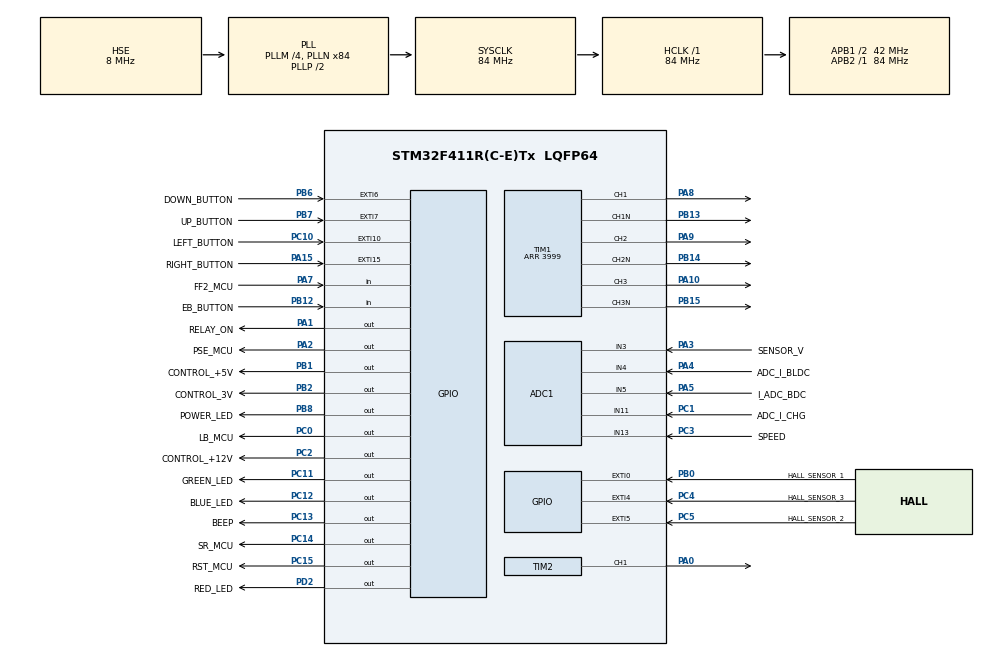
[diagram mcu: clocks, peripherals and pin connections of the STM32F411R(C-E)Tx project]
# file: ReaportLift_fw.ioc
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ADC1.Channel-1\#ChannelRegularConversion=ADC_CHANNEL_4
ADC1.Channel-10\#ChannelRegularConversion=ADC_CHANNEL_13
ADC1.Channel-7\#ChannelRegularConversion=ADC_CHANNEL_3
ADC1.Channel-8\#ChannelRegularConversion=ADC_CHANNEL_5
ADC1.Channel-9\#ChannelRegularConversion=ADC_CHANNEL_11
ADC1.ContinuousConvMode=ENABLE
ADC1.DMAContinuousRequests=ENABLE
ADC1.EOCSelection=ADC_EOC_SEQ_CONV
ADC1.ExternalTrigConv=ADC_EXTERNALTRIGCONV_T3_TRGO
ADC1.ExternalTrigConvEdge=ADC_EXTERNALTRIGCONVEDGE_RISING
ADC1.NbrOfConversion=5
ADC1.NbrOfConversionFlag=1
ADC1.Rank-1\#ChannelRegularConversion=1
ADC1.Rank-10\#ChannelRegularConversion=5
ADC1.Rank-7\#ChannelRegularConversion=2
ADC1.Rank-8\#ChannelRegularConversion=3
ADC1.Rank-9\#ChannelRegularConversion=4
ADC1.SamplingTime-1\#ChannelRegularConversion=ADC_SAMPLETIME_480CYCLES
ADC1.SamplingTime-10\#ChannelRegularConversion=ADC_SAMPLETIME_480CYCLES
ADC1.SamplingTime-7\#ChannelRegularConversion=ADC_SAMPLETIME_480CYCLES
ADC1.SamplingTime-8\#ChannelRegularConversion=ADC_SAMPLETIME_480CYCLES
ADC1.SamplingTime-9\#ChannelRegularConversion=ADC_SAMPLETIME_480CYCLES
ADC1.ScanConvMode=ENABLE
ADC1.master=1
Dma.ADC1.0.Direction=DMA_PERIPH_TO_MEMORY
Dma.ADC1.0.FIFOMode=DMA_FIFOMODE_DISABLE
Dma.ADC1.0.Instance=DMA2_Stream0
Dma.ADC1.0.MemDataAlignment=DMA_MDATAALIGN_HALFWORD
Dma.ADC1.0.MemInc=DMA_MINC_ENABLE
Dma.ADC1.0.Mode=DMA_CIRCULAR
Dma.ADC1.0.PeriphDataAlignment=DMA_PDATAALIGN_HALFWORD
Dma.ADC1.0.PeriphInc=DMA_PINC_DISABLE
Dma.ADC1.0.Priority=DMA_PRIORITY_LOW
Dma.Request0=ADC1
Mcu.Family=STM32F4
Mcu.Name=STM32F411R(C-E)Tx
Mcu.Package=LQFP64
NVIC.DMA2_Stream0_IRQn=true\:3\:0\:true\:false\:true\:false\:true
NVIC.EXTI0_IRQn=true\:3\:0\:true\:false\:true\:true\:true
NVIC.EXTI15_10_IRQn=true\:3\:0\:true\:false\:true\:true\:true
NVIC.EXTI4_IRQn=true\:3\:0\:true\:false\:true\:true\:true
NVIC.EXTI9_5_IRQn=true\:3\:0\:true\:false\:true\:true\:true
NVIC.PriorityGroup=NVIC_PRIORITYGROUP_4
NVIC.RTC_WKUP_IRQn=true\:3\:0\:true\:false\:true\:true\:true
NVIC.TIM1_BRK_TIM9_IRQn=true\:3\:0\:true\:false\:true\:true\:true
NVIC.TIM4_IRQn=true\:0\:0\:false\:false\:true\:true\:true
NVIC.TIM5_IRQn=true\:4\:0\:true\:false\:true\:true\:true
PA0-WKUP.Signal=S_TIM2_CH1_ETR
PA1.GPIO_Label=RELAY_ON
PA1.Signal=GPIO_Output
PA10.GPIO_ModeDefaultPP=GPIO_MODE_AF_PP
PA10.GPIO_PuPd=GPIO_PULLDOWN
PA10.GPIO_Speed=GPIO_SPEED_FREQ_HIGH
PA10.Signal=S_TIM1_CH3
PA13.Mode=Serial_Wire
PA13.Signal=SYS_JTMS-SWDIO
PA14.Mode=Serial_Wire
PA14.Signal=SYS_JTCK-SWCLK
PA15.GPIO_Label=RIGHT_BUTTON
PA15.GPIO_ModeDefaultEXTI=GPIO_MODE_IT_RISING_FALLING
PA15.GPIO_PuPd=GPIO_NOPULL
PA15.Signal=GPXTI15
PA2.GPIO_Label=PSE_MCU
PA2.Signal=GPIO_Output
PA3.GPIO_Label=SENSOR_V
PA3.Signal=ADCx_IN3
PA4.GPIO_Label=ADC_I_BLDC
PA4.Signal=ADCx_IN4
PA5.GPIO_Label=I_ADC_BDC
PA5.Signal=ADCx_IN5
PA7.GPIO_Label=FF2_MCU
PA7.Signal=GPIO_Input
PA8.GPIO_ModeDefaultPP=GPIO_MODE_AF_PP
PA8.GPIO_PuPd=GPIO_PULLDOWN
PA8.GPIO_Speed=GPIO_SPEED_FREQ_HIGH
PA8.Signal=S_TIM1_CH1
PA9.GPIO_ModeDefaultPP=GPIO_MODE_AF_PP
PA9.GPIO_PuPd=GPIO_PULLDOWN
PA9.GPIO_Speed=GPIO_SPEED_FREQ_HIGH
PA9.Signal=S_TIM1_CH2
PB0.GPIO_Label=HALL_SENSOR_1
PB0.GPIO_ModeDefaultEXTI=GPIO_MODE_IT_RISING_FALLING
PB0.GPIO_PuPd=GPIO_NOPULL
PB0.Signal=GPXTI0
PB1.GPIO_Label=CONTROL_+5V
PB1.Signal=GPIO_Output
PB12.GPIO_Label=EB_BUTTON
PB12.Signal=GPIO_Input
PB13.GPIO_ModeDefaultPP=GPIO_MODE_AF_PP
PB13.GPIO_PuPd=GPIO_PULLDOWN
PB13.GPIO_Speed=GPIO_SPEED_FREQ_HIGH
PB13.Mode=PWM Generation1 CH1 CH1N
PB13.Signal=TIM1_CH1N
PB14.GPIO_ModeDefaultPP=GPIO_MODE_AF_PP
PB14.GPIO_PuPd=GPIO_PULLDOWN
PB14.GPIO_Speed=GPIO_SPEED_FREQ_HIGH
PB14.Mode=PWM Generation2 CH2 CH2N
PB14.Signal=TIM1_CH2N
PB15.GPIO_ModeDefaultPP=GPIO_MODE_AF_PP
PB15.GPIO_PuPd=GPIO_PULLDOWN
PB15.GPIO_Speed=GPIO_SPEED_FREQ_HIGH
PB15.Mode=PWM Generation3 CH3 CH3N
PB15.Signal=TIM1_CH3N
PB2.GPIO_Label=CONTROL_3V
PB2.Signal=GPIO_Output
PB3.Signal=S_TIM2_CH2
PB6.GPIO_Label=DOWN_BUTTON
PB6.GPIO_ModeDefaultEXTI=GPIO_MODE_IT_RISING_FALLING
PB6.GPIO_PuPd=GPIO_NOPULL
PB6.Signal=GPXTI6
PB7.GPIO_Label=UP_BUTTON
PB7.GPIO_ModeDefaultEXTI=GPIO_MODE_IT_RISING_FALLING
PB7.GPIO_PuPd=GPIO_NOPULL
PB7.Signal=GPXTI7
PB8.GPIO_Label=POWER_LED
PB8.Signal=GPIO_Output
PC0.GPIO_Label=LB_MCU
PC0.Signal=GPIO_Output
PC1.GPIO_Label=ADC_I_CHG
PC1.Signal=ADCx_IN11
PC10.GPIO_Label=LEFT_BUTTON
PC10.GPIO_ModeDefaultEXTI=GPIO_MODE_IT_RISING_FALLING
PC10.GPIO_PuPd=GPIO_NOPULL
PC10.Signal=GPXTI10
PC11.GPIO_Label=GREEN_LED
PC11.Signal=GPIO_Output
PC12.GPIO_Label=BLUE_LED
PC12.Signal=GPIO_Output
PC13-ANTI_TAMP.GPIO_Label=BEEP
PC13-ANTI_TAMP.Signal=GPIO_Output
PC14-OSC32_IN.GPIO_Label=SR_MCU
PC14-OSC32_IN.Signal=GPIO_Output
PC15-OSC32_OUT.GPIO_Label=RST_MCU
PC15-OSC32_OUT.Signal=GPIO_Output
PC2.GPIO_Label=CONTROL_+12V
PC2.Signal=GPIO_Output
PC3.GPIO_Label=SPEED
PC3.Signal=ADCx_IN13
PC4.GPIO_Label=HALL_SENSOR_3
PC4.GPIO_ModeDefaultEXTI=GPIO_MODE_IT_RISING_FALLING
PC4.GPIO_PuPd=GPIO_NOPULL
PC4.Signal=GPXTI4
PC5.GPIO_Label=HALL_SENSOR_2
PC5.GPIO_ModeDefaultEXTI=GPIO_MODE_IT_RISING_FALLING
PC5.GPIO_PuPd=GPIO_NOPULL
PC5.Signal=GPXTI5
PD2.GPIO_Label=RED_LED
PD2.Signal=GPIO_Output
PH0\ -\ OSC_IN.Mode=HSE-External-Oscillator
PH0\ -\ OSC_IN.Signal=RCC_OSC_IN
PH1\ -\ OSC_OUT.Mode=HSE-External-Oscillator
PH1\ -\ OSC_OUT.Signal=RCC_OSC_OUT
ProjectManager.HeapSize=0x200
ProjectManager.StackSize=0x400
ProjectManager.TargetToolchain=STM32CubeIDE
RCC.48MHZClocksFreq_Value=42000000
RCC.AHBFreq_Value=84000000
RCC.APB1CLKDivider=RCC_HCLK_DIV2
RCC.APB1Freq_Value=42000000
RCC.APB1TimFreq_Value=84000000
RCC.APB2Freq_Value=84000000
RCC.APB2TimFreq_Value=84000000
RCC.CortexFreq_Value=84000000
RCC.HCLKFreq_Value=84000000
RCC.HSE_VALUE=8000000
RCC.HSI_VALUE=16000000
RCC.LSE_VALUE=32768
RCC.PLLM=4
RCC.PLLN=84
RCC.PLLSourceVirtual=RCC_PLLSOURCE_HSE
RCC.SYSCLKFreq_VALUE=84000000
RCC.SYSCLKSource=RCC_SYSCLKSOURCE_PLLCLK
RCC.VCOOutputFreq_Value=168000000
RTC.SynchPrediv=311
RTC.WakeUpClock=RTC_WAKEUPCLOCK_CK_SPRE_16BITS
RTC.WakeUpCounter=1
RTC.WeekDay=RTC_WEEKDAY_FRIDAY
RTC.Year=21
SH.ADCx_IN11.0=ADC1_IN11,IN11
SH.ADCx_IN13.0=ADC1_IN13,IN13
SH.ADCx_IN3.0=ADC1_IN3,IN3
SH.ADCx_IN4.0=ADC1_IN4,IN4
SH.ADCx_IN5.0=ADC1_IN5,IN5
SH.S_TIM1_CH1.0=TIM1_CH1,PWM Generation1 CH1 CH1N
SH.S_TIM1_CH2.0=TIM1_CH2,PWM Generation2 CH2 CH2N
SH.S_TIM1_CH3.0=TIM1_CH3,PWM Generation3 CH3 CH3N
SH.S_TIM2_CH1_ETR.0=TIM2_CH1,PWM Generation1 CH1
SH.S_TIM2_CH2.0=TIM2_CH2
TIM1.AutoReloadPreload=TIM_AUTORELOAD_PRELOAD_DISABLE
TIM1.AutomaticOutput=TIM_AUTOMATICOUTPUT_ENABLE
TIM1.BreakPolarity=TIM_BREAKPOLARITY_LOW
TIM1.BreakState=TIM_BREAK_DISABLE
TIM1.Channel-PWM\ Generation1\ CH1\ CH1N=TIM_CHANNEL_1
TIM1.Channel-PWM\ Generation2\ CH2\ CH2N=TIM_CHANNEL_2
TIM1.Channel-PWM\ Generation3\ CH3\ CH3N=TIM_CHANNEL_3
TIM1.CounterMode=TIM_COUNTERMODE_CENTERALIGNED1
TIM1.DeadTime=0xa7
TIM1.Period=3999
TIM2.Channel-PWM\ Generation1\ CH1=TIM_CHANNEL_1
TIM2.Period=99
TIM2.Prescaler=41
TIM3.Period=999
TIM3.Prescaler=83
TIM3.TIM_MasterOutputTrigger=TIM_TRGO_UPDATE
TIM4.Channel-Input_Capture1_from_TRC=TIM_CHANNEL_1
TIM4.Channel-Output\ Compare2\ No\ Output=TIM_CHANNEL_2
TIM4.Period=65535
TIM4.Prescaler=83
TIM4.Pulse-Output\ Compare2\ No\ Output=1
TIM4.TIM_MasterOutputTrigger=TIM_TRGO_UPDATE
TIM5.Period=499999
TIM5.Prescaler=83
VP_RTC_VS_RTC_Activate.Mode=RTC_Enabled
VP_RTC_VS_RTC_WakeUp_intern.Mode=WakeUp
VP_TIM1_VS_ClockSourceINT.Mode=Internal
VP_TIM1_VS_ClockSourceITR.Mode=TriggerSource_ITR3
VP_TIM1_VS_ControllerModeTrigger.Mode=Trigger Mode
VP_TIM2_VS_ClockSourceINT.Mode=Internal
VP_TIM3_VS_ClockSourceINT.Mode=Internal
VP_TIM4_VS_CH1.Mode=Input_Capture1_from_TRC
VP_TIM4_VS_ClockSourceINT.Mode=Internal
VP_TIM4_VS_ClockSourceITR.Mode=TriggerSource_ITR3
VP_TIM4_VS_ControllerModeReset.Mode=Reset Mode
VP_TIM4_VS_no_output2.Mode=Output Compare2 No Output
VP_TIM5_VS_ClockSourceINT.Mode=Internal
board=custom

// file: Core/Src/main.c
/* USER CODE BEGIN Header */
/**
 ******************************************************************************
 * @file           : main.c
 * @brief          : Main program body
 ******************************************************************************
 * @attention
 *
 * <h2><center>&copy; Copyright (c) 2020 STMicroelectronics.
 * All rights reserved.</center></h2>
 *
 * This software component is licensed by ST under BSD 3-Clause license,
 * the "License"; You may not use this file except in compliance with the
 * License. You may obtain a copy of the License at:
 *                        opensource.org/licenses/BSD-3-Clause
 *
 ******************************************************************************
 */
/* USER CODE END Header */
#include "main.h"
#include "adc.h"
#include "dma.h"
#include "rtc.h"
#include "tim.h"
#include "gpio.h"

/* USER CODE BEGIN Includes */
#include "hall.h"
#include "6Step_Lib_Hall.h"
#include "button.h"
#include "atomic.h"
#include "bitbanding.h"
#include "median.h"

/* USER CODE END Includes */

/* USER CODE BEGIN PV */
static float U = 0;
float I_level_chg = 0;
static bool chargerFlag = false;
static bool chargerON = false;
static float delta = 0;
static bool isChargeBeep = false;
extern ButtonState_TypeDef ButtonState;
extern ButtonID_TypeDef ButtonID;
extern uint32_t error;
extern SIXSTEP_Base_InitTypeDef SIXSTEP_parameters;
extern volatile bool rtc_flag;
extern float I_bdc, I_bldc;
extern __IO uint32_t adc_ready_flag;

extern median_context_t median_filter_ctx [ADC_REG_CHANNEL_NUM];

/* USER CODE END PV */

void SystemClock_Config(void);
/* USER CODE BEGIN PFP */
//static void LEDCheck_OnStart (void);
static void LED_OFF_all (void);
static void sound (uint8_t count , uint32_t duration);
static void U_enable_all ();
static void U_disable_all ();
static void U_enable_12V ();
static void U_disable_12V ();
static void U_enable_5V ();
static void U_disable_5V ();
static void U_enable_3V ();
static void U_disable_3V ();
static void ADC_start ();
static void ADC_stop ();
static void blink ();
static void charger ();

/* USER CODE END PFP */

int main(void)
{

  /* MCU Configuration--------------------------------------------------------*/

  /* Reset of all peripherals, Initializes the Flash interface and the Systick. */
  HAL_Init();

  /* Configure the system clock */
  SystemClock_Config();

  /* Initialize all configured peripherals */
  MX_GPIO_Init();
  MX_DMA_Init();
  MX_TIM1_Init();
  MX_TIM4_Init();
  MX_TIM2_Init();
  MX_ADC1_Init();
  MX_TIM3_Init();
  MX_RTC_Init();
  MX_TIM5_Init();
  /* USER CODE BEGIN 2 */

			//	InitHall( );
			MC_SixStep_INIT( );
			__POWER_LED_ON();
		  	HAL_Delay(300);
			__POWER_LED_OFF();

			// HAL_DBGMCU_EnableDBGStopMode();
			HAL_PWR_DisableSleepOnExit( );
//----------------------------------------------------
			U_enable_all( );
//----------------------------------------------------

			InitHall( );
			ADC_start( );

			U = Ubat_Measure( ); // Get Vbat value;
			if (__IS_EM_BUTTON_EN)
			{
						sound(1, 300);
			}
			else if (U <= BAT_LEVEL_WARN)
			{
						sound(2, 500);
			}

			ADC_stop( );
			if (U >= BAT_LEVEL_WARN && !__IS_EM_BUTTON_EN)
			{
					//	LEDCheck_OnStart( );
			}

			U_disable_all( );
  /* USER CODE END 2 */

  /* Infinite loop */
			while (1)
			{

    /* USER CODE BEGIN 3 */

						HAL_SuspendTick( );
						HAL_PWR_EnterSTOPMode(PWR_LOWPOWERREGULATOR_ON, PWR_STOPENTRY_WFI);
						HAL_ResumeTick( );
						SystemClock_Config( );

						if (ButtonID == NONE_BUTTON)
						{
									charger( );

									if (I_level_chg >= 0.1 && !isChargeBeep)
									{
												HAL_NVIC_DisableIRQ(EXTI0_IRQn);
												HAL_NVIC_DisableIRQ(EXTI9_5_IRQn);
												HAL_NVIC_DisableIRQ(EXTI4_IRQn);
												__POWER_LED_OFF();
												isChargeBeep = true;
												sound(2, 1000);
									}

									else if (I_level_chg < 0.05)
									{

												isChargeBeep = false;
												chargerON = false;
												delta = 0;
												blink( );
												if (rtc_flag)
												{
															rtc_flag = false;

															__POWER_LED_ON();
															HAL_Delay(300);
															__POWER_LED_OFF();
												}

									}

						}

						switch (ButtonID)
									{

									case UP_BUTTON:

												if (chargerFlag)
												{
															ButtonID = NONE_BUTTON;
															ButtonState = BUTTON_RELEASE;
															break;
												}
												MC_ResetError( );
												if ( !__IS_EM_BUTTON_EN)
												{
															LED_OFF_all( );
												}
												U_enable_all( );

												InitHall( );

												if (__IS_EM_BUTTON_EN)
												{
															__RED_LED_ON();
															sound(1, 300);
															U_disable_all( );
															ButtonID = NONE_BUTTON;
															ButtonState = BUTTON_RELEASE;

															break;
												}

												ADC_start( );

												U = Ubat_Measure( ); // Get Vbat value;

												if (U <= BAT_LEVEL_WARN)
												{
															sound(2, 500);
															U_disable_all( );
															ADC_stop( );
															ButtonID = NONE_BUTTON;
															ButtonState = BUTTON_RELEASE;
															break;
												}
												HAL_TIM_Base_Start_IT( &LF_TIMx); //Start TIM4 then TIM1 will start counting after TIM4 has overloaded;
												HAL_TIM_Base_Start_IT( &SW_TIMx);
												MC_ChangeDirection_reverse( );
												MC_StartMotor_BLDC( );

#if	(TEST > 0)
			do
			{
				MC_ADC_Task_BLDC();

				if(error != 0)
				{
					MC_ResetError();
					MC_StopMotor_BLDC();
					MC_Set_Speed(0);
					MC_Task_Speed();

					for (int i = 0; i < 6000; i++)
					{
						MC_ADC_Task_BLDC();
					}
					InitHall();
					HAL_Delay(60000);
					MC_StartMotor_BLDC();

				}

			} while(1);

      #else
												do
												{

															MC_ADC_Task_BLDC( );
												}while (ButtonID == UP_BUTTON && !error);

#endif
												HAL_TIM_Base_Stop_IT( &SW_TIMx);
												__HAL_TIM_SetCounter(&SW_TIMx,0);
												InitHall( );
												U_disable_all( );

												MC_Set_Speed(0);
												MC_Task_Speed( );
												MC_StopMotor_BLDC( );

												for (int i = 0; i < 10000; i++)
												{
															MC_ADC_Task_BLDC( );
												}

												ADC_stop( );

												HAL_TIM_Base_Stop_IT( &LF_TIMx); //Stop TIM4;
												HAL_TIM_Base_Stop_IT( &HF_TIMx); //Stop TIM1;

												if (BIT_BAND_SRAM(error, MC_OVERCURRENT_Pos))
												{
															sound(1, 1000);
												}

												if (BIT_BAND_SRAM(error, MC_SWITCH_Pos))
												{
															sound(3, 300);
												}

												I_bldc = 0;

												ButtonID = NONE_BUTTON;
												ButtonState = BUTTON_RELEASE;

									break;

									case DOWN_BUTTON:
												if (chargerFlag)
												{
															ButtonID = NONE_BUTTON;
															ButtonState = BUTTON_RELEASE;
															break;
												}

												MC_ResetError( );
												if ( !__IS_EM_BUTTON_EN)
												{
															LED_OFF_all( );
												}

												U_enable_all( );
												InitHall( );

												if (__IS_EM_BUTTON_EN)
												{
															__RED_LED_ON();
															sound(1, 300);
															U_disable_all( );

															ButtonID = NONE_BUTTON;
															ButtonState = BUTTON_RELEASE;

															break;
												}

												ADC_start( );
												U = Ubat_Measure( ); // Get Vbat value;

												if (U <= BAT_LEVEL_WARN)
												{
															sound(2, 500);
															ButtonID = NONE_BUTTON;
															ButtonState = BUTTON_RELEASE;
															ADC_stop( );
															U_disable_all( );
															break;
												}

												__RELAY_ON();
												HAL_Delay(10);

												HAL_TIM_Base_Start_IT( &LF_TIMx); //Start TIM4 then TIM1 will start counting after TIM4 has overloaded;
												MC_ChangeDirection( );
												MC_StartMotor_BLDC( );
												HAL_TIM_Base_Start_IT( &SW_TIMx);

												do
												{
															MC_ADC_Task_BLDC( );
												}while (ButtonID == DOWN_BUTTON && !error);

												HAL_TIM_Base_Stop_IT( &SW_TIMx);
												__HAL_TIM_SetCounter(&SW_TIMx,0);
												InitHall( );
												U_disable_all( );

												MC_Set_Speed(0);
												MC_Task_Speed( );
												MC_StopMotor_BLDC( );

												for (int i = 0; i < 10000; i++)
												{
															MC_ADC_Task_BLDC( );
												}

												ADC_stop( );

												HAL_TIM_Base_Stop_IT( &LF_TIMx); //Stop TIM4;
												HAL_TIM_Base_Stop_IT( &HF_TIMx); //Stop TIM1;

												__RELAY_OFF();

												if (BIT_BAND_SRAM(error, MC_OVERCURRENT_Pos))
												{
															sound(1, 1000);
												}

												if (BIT_BAND_SRAM(error, MC_SWITCH_Pos))
												{
															sound(3, 300);
												}

												I_bldc = 0;
												ButtonID = NONE_BUTTON;
												ButtonState = BUTTON_RELEASE;

									break;

									case RIGHT_BUTTON:

												if ( !__IS_EM_BUTTON_EN)
												{
															LED_OFF_all( );
												}
												MC_ResetError( );
												U_enable_all( );

												if (__IS_EM_BUTTON_EN)
												{
															sound(1, 300);
															ButtonID = NONE_BUTTON;
															ButtonState = BUTTON_RELEASE;
															U_disable_all( );
															break;
												}

												ADC_start( );

												U = Ubat_Measure( ); // Get Vbat value;

												if (U <= BAT_LEVEL_WARN)
												{
															sound(2, 500);
															ButtonID = NONE_BUTTON;
															ButtonState = BUTTON_RELEASE;
															ADC_stop( );
															U_disable_all( );
															break;
												}
												MC_StartMotor_BDC(false);
												HAL_TIM_Base_Start_IT( &SW_TIMx);

												do
												{
															MC_ADC_Task_BDC( );
												}while (ButtonID == RIGHT_BUTTON && !__IS_EM_BUTTON_EN && !__FF2_PIN && !error);

												HAL_TIM_Base_Stop_IT( &SW_TIMx);
												__HAL_TIM_SetCounter(&SW_TIMx,0);
												I_bdc = 0;
												MC_StopMotor_BDC( ); //Switch off PWM outputs for BDC motor;

												U_disable_all( );
												ADC_stop( );

												if (BIT_BAND_SRAM(error, MC_OVERCURRENT_Pos_bdc))
												{
															sound(1, 1000);
												}
												if ( __FF2_PIN || BIT_BAND_SRAM(error, MC_SWITCH_Pos))
												{
															if ( !BIT_BAND_SRAM(error, MC_SWITCH_Pos))
															{
																		MC_SetError(MC_SWITCH_Pos);
															}
															sound(3, 300);
												}

												ButtonID = NONE_BUTTON;
												ButtonState = BUTTON_RELEASE;

									break;

									case LEFT_BUTTON:

												if ( !__IS_EM_BUTTON_EN)
												{
															LED_OFF_all( );
												}
												MC_ResetError( );
												U_enable_all( );

												if (__IS_EM_BUTTON_EN)
												{
															sound(1, 300);
															ButtonID = NONE_BUTTON;
															ButtonState = BUTTON_RELEASE;
															U_disable_all( );
															break;
												}

												ADC_start( );

												U = Ubat_Measure( ); // Get Vbat value;

												if (U <= BAT_LEVEL_WARN)
												{
															sound(2, 500);
															ButtonID = NONE_BUTTON;
															ButtonState = BUTTON_RELEASE;
															ADC_stop( );
															U_disable_all( );
															break;
												}
												__RELAY_ON();
												HAL_Delay(10);
												MC_StartMotor_BDC(true);
												HAL_TIM_Base_Start_IT( &SW_TIMx);

												do
												{
															MC_ADC_Task_BDC( );
												}while (ButtonID == LEFT_BUTTON && !__IS_EM_BUTTON_EN && !__FF2_PIN && !error);

												HAL_TIM_Base_Stop_IT( &SW_TIMx);
												__HAL_TIM_SetCounter(&SW_TIMx,0);

												I_bdc = 0;

												MC_StopMotor_BDC( ); //Switch off PWM outputs for BLDC motor;
												ADC_stop( );
												U_disable_all( );

												__RELAY_OFF();

												if (BIT_BAND_SRAM(error, MC_OVERCURRENT_Pos_bdc))
												{
															sound(1, 1000);
												}
												if (__FF2_PIN || BIT_BAND_SRAM(error, MC_SWITCH_Pos))
												{
															if ( !BIT_BAND_SRAM(error, MC_SWITCH_Pos))
															{
																		MC_SetError(MC_SWITCH_Pos);
															}
															sound(3, 300);
												}
												ButtonID = NONE_BUTTON;
												ButtonState = BUTTON_RELEASE;

									break;

									default:
									break;

									}

			}
  /* USER CODE END 3 */
}

void SystemClock_Config(void)
{
  RCC_OscInitTypeDef RCC_OscInitStruct = {0};
  RCC_ClkInitTypeDef RCC_ClkInitStruct = {0};
  RCC_PeriphCLKInitTypeDef PeriphClkInitStruct = {0};

  /** Configure the main internal regulator output voltage
  */
  __HAL_RCC_PWR_CLK_ENABLE();
  __HAL_PWR_VOLTAGESCALING_CONFIG(PWR_REGULATOR_VOLTAGE_SCALE1);
  /** Initializes the RCC Oscillators according to the specified parameters
  * in the RCC_OscInitTypeDef structure.
  */
  RCC_OscInitStruct.OscillatorType = RCC_OSCILLATORTYPE_LSI|RCC_OSCILLATORTYPE_HSE;
  RCC_OscInitStruct.HSEState = RCC_HSE_ON;
  RCC_OscInitStruct.LSIState = RCC_LSI_ON;
  RCC_OscInitStruct.PLL.PLLState = RCC_PLL_ON;
  RCC_OscInitStruct.PLL.PLLSource = RCC_PLLSOURCE_HSE;
  RCC_OscInitStruct.PLL.PLLM = 4;
  RCC_OscInitStruct.PLL.PLLN = 84;
  RCC_OscInitStruct.PLL.PLLP = RCC_PLLP_DIV2;
  RCC_OscInitStruct.PLL.PLLQ = 4;
  if (HAL_RCC_OscConfig(&RCC_OscInitStruct) != HAL_OK)
  {
    Error_Handler();
  }
  /** Initializes the CPU, AHB and APB buses clocks
  */
  RCC_ClkInitStruct.ClockType = RCC_CLOCKTYPE_HCLK|RCC_CLOCKTYPE_SYSCLK
                              |RCC_CLOCKTYPE_PCLK1|RCC_CLOCKTYPE_PCLK2;
  RCC_ClkInitStruct.SYSCLKSource = RCC_SYSCLKSOURCE_PLLCLK;
  RCC_ClkInitStruct.AHBCLKDivider = RCC_SYSCLK_DIV1;
  RCC_ClkInitStruct.APB1CLKDivider = RCC_HCLK_DIV2;
  RCC_ClkInitStruct.APB2CLKDivider = RCC_HCLK_DIV1;

  if (HAL_RCC_ClockConfig(&RCC_ClkInitStruct, FLASH_LATENCY_2) != HAL_OK)
  {
    Error_Handler();
  }
  PeriphClkInitStruct.PeriphClockSelection = RCC_PERIPHCLK_RTC;
  PeriphClkInitStruct.RTCClockSelection = RCC_RTCCLKSOURCE_LSI;
  if (HAL_RCCEx_PeriphCLKConfig(&PeriphClkInitStruct) != HAL_OK)
  {
    Error_Handler();
  }
}

/* USER CODE BEGIN 4 */
/*static void LEDCheck_OnStart (void)
{

			__RED_LED_ON();
			HAL_Delay(300);
			__RED_LED_OFF();

			__BLUE_LED_ON();
			HAL_Delay(300);
			__BLUE_LED_OFF();

			__GREEN_LED_ON();
			HAL_Delay(300);
			__GREEN_LED_OFF();

}*/
static void sound (uint8_t count , uint32_t duration)
{

			for (int i = 1; i <= count; i++)
			{
						__BEEP_ON();
						HAL_Delay(duration);
						__BEEP_OFF();
						if (count > 1)
						{
							HAL_Delay(duration);
						}
			}

}

static void U_enable_all ()
{

			__PWR_12V_ON(); //12V On;
			__PWR_5V_ON(); //5V On;
			__PWR_3U_ON(); //3V_On;

			HAL_Delay(60);

}
static void U_disable_all ()
{
			__PWR_12V_OFF();
			__PWR_5V_OFF();
			__PWR_3U_OFF();
}
static void U_enable_12V ()
{

			__PWR_12V_ON();
			HAL_Delay(60);

}
static void U_disable_12V ()
{

			__PWR_12V_OFF();

}

static void U_enable_5V ()
{

			__PWR_5V_ON();
			HAL_Delay(60);

}

static void U_disable_5V ()
{

			__PWR_5V_OFF();

}

static void U_enable_3V ()
{

			__PWR_3U_ON();
			HAL_Delay(60);

}
static void U_disable_3V ()
{

			__PWR_3U_OFF();

}

static void ADC_start ()
{

			HAL_TIM_Base_Start( &ADC_TIMx); // Start ADC Sample Timer;
			HAL_ADC_Start_DMA( &ADCx, (uint32_t*) SIXSTEP_parameters.ADC_SEQ_Buffer, ADC_REG_CHANNEL_NUM); // Start ADC+DMA;
			HAL_Delay(10);

}
static void ADC_stop ()
{
			HAL_TIM_Base_Stop( &ADC_TIMx); // Stop ADC Sample Timer TIM3;
			HAL_ADC_Stop_DMA( &ADCx); // Stop ADC+DMA;
			__HAL_TIM_SetCounter(&ADC_TIMx,0);
			BIT_BAND_SRAM(adc_ready_flag, 1) = 0;

}

static void blink ()
{
			U_enable_12V( );
			U_enable_5V( );

			if (chargerFlag)
			{
						LED_OFF_all();
						chargerFlag = false;
						HAL_NVIC_EnableIRQ(EXTI0_IRQn);
						HAL_NVIC_EnableIRQ(EXTI9_5_IRQn);
						HAL_NVIC_EnableIRQ(EXTI4_IRQn);
						U_enable_3V( );
						ADC_start( );
						U = Ubat_Measure( );
						ADC_stop( );
						U_disable_3V( );
						return;
			}

			if (BIT_BAND_SRAM(error, MC_SWITCH_Pos))
			{
						__RED_LED_ON();
						HAL_Delay(300);
						__RED_LED_OFF();
						HAL_Delay(300);
						__RED_LED_ON();
						HAL_Delay(300);
						__RED_LED_OFF();
						HAL_Delay(300);
						__RED_LED_ON();
						HAL_Delay(300);
						__RED_LED_OFF();

			}

			else if (BIT_BAND_SRAM(error, MC_OVERCURRENT_Pos) || BIT_BAND_SRAM(error, MC_OVERCURRENT_Pos_bdc))
			{
						__BLUE_LED_ON();
				  		HAL_Delay(300);
						__BLUE_LED_OFF();

			}
			else if (__IS_EM_BUTTON_EN)
			{
						__RED_LED_ON();
			}
			else
			{

						if ( !__IS_EM_BUTTON_EN) __RED_LED_OFF();

						Show_Battery_Level(U); // Show Vbat level corresponds to  Vbat value;

						U_disable_5V( );
						U_disable_12V( );
						U_disable_3V( );

			}

}

static void LED_OFF_all (void)
{
			__RED_LED_OFF();
			__BLUE_LED_OFF();
			__GREEN_LED_OFF();
			__POWER_LED_OFF();

}

static void charger ()
{

			static uint32_t sum = 0;
			static uint16_t average = 0;

			U_enable_3V( );
			U_enable_5V( );
			ADC_start( );

			adc_ch_t adc_ch = I_CHG;
			for (int n = 0; n < 64; n++)
			{

						sum += median_filter(SIXSTEP_parameters.ADC_SEQ_Buffer [adc_ch], &median_filter_ctx [3]);
						HAL_Delay(5);
			}

			average = sum / 64;

			if (delta > 0) I_level_chg = (((3.36 * average / 4096.0) / K) / RSENSE_CHG) - delta;
			else I_level_chg = (((3.36 * average / 4096.0) / K) / RSENSE_CHG);

			I_level_chg = floor(I_level_chg * 100) / 100;

			average = 0;
			sum = 0;
			if ( !chargerON)
			{
						chargerON = true;
						delta = I_level_chg - 2.8;
			}
			if (I_level_chg >= 2.8)
			{
						chargerFlag = true;
						__POWER_LED_OFF();
						__RED_LED_ON();
						__BLUE_LED_OFF();
						__GREEN_LED_OFF();

			}

			else if (I_level_chg < 2.8 && I_level_chg >= 1.6)
			{
						chargerFlag = true;
						__POWER_LED_OFF();
						__RED_LED_ON();
						__BLUE_LED_OFF();
						__GREEN_LED_OFF();
			}
			else if (I_level_chg < 1.6 && I_level_chg >= 0.3)
			{
						chargerFlag = true;
						__POWER_LED_OFF();
						__RED_LED_OFF();
						__BLUE_LED_ON();
						__GREEN_LED_OFF();

			}

			else if (I_level_chg > 0 && I_level_chg < 0.3)
			{
						chargerFlag = true;
						__POWER_LED_OFF();
						__RED_LED_OFF();
						__BLUE_LED_OFF();
						__GREEN_LED_ON();

			}

			//U_disable_5V( );
			U_disable_3V( );
			ADC_stop( );
}

/* USER CODE END 4 */

void Error_Handler(void)
{
}

/************************ (C) COPYRIGHT STMicroelectronics *****END OF FILE****/
